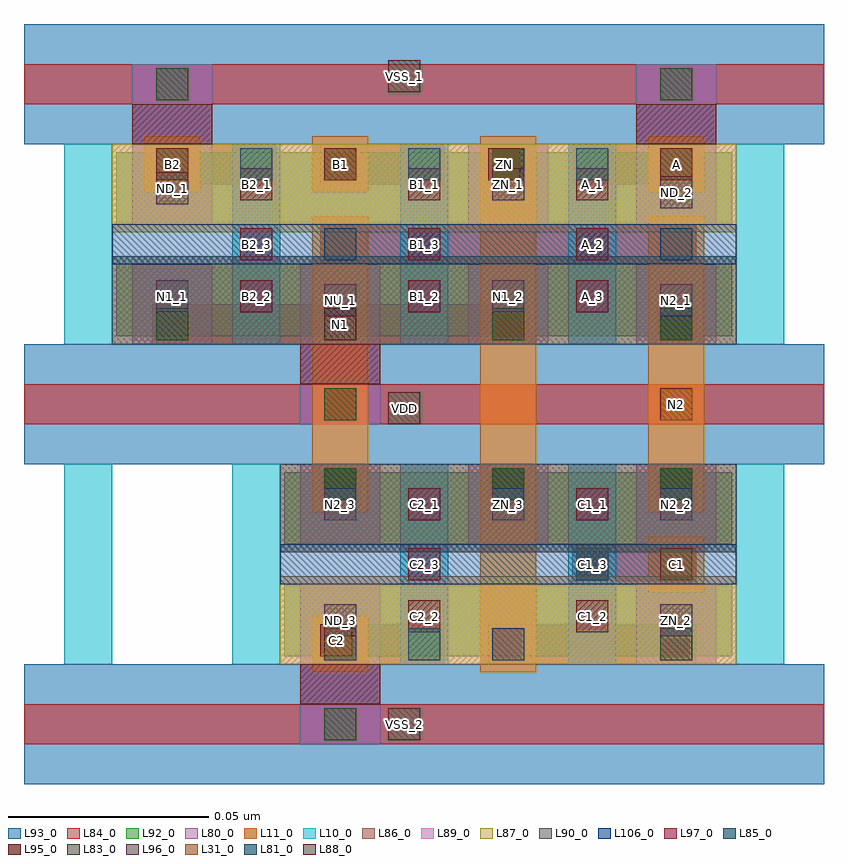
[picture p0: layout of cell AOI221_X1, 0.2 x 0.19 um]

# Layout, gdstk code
import gdstk
lib = gdstk.Library(unit=1e-6, precision=1e-09)
def R(c, l, rs):  # rectangles x0, y0, x1, y1
    for r in rs: c.add(gdstk.rectangle(r[:2], r[2:], *l))
def A(c, l, x, y, w, h, nx, ny, dx, dy):  # array of equal rectangles
    R(c, l, [(x+i*dx, y+j*dy, x+i*dx+w, y+j*dy+h) for i in range(nx) for j in range(ny)])
L10_0 = (10, 0)
L11_0 = (11, 0)
L31_0 = (31, 0)
L80_0 = (80, 0)
L81_0 = (81, 0)
L83_0 = (83, 0)
L84_0 = (84, 0)
L85_0 = (85, 0)
L86_0 = (86, 0)
L87_0 = (87, 0)
L88_0 = (88, 0)
L89_0 = (89, 0)
L90_0 = (90, 0)
L92_0 = (92, 0)
L93_0 = (93, 0)
L95_0 = (95, 0)
L96_0 = (96, 0)
L97_0 = (97, 0)
L106_0 = (106, 0)

aoi221_x1 = lib.new_cell('AOI221_X1')
A(aoi221_x1, L10_0, -0.027, -0.065, 0.012, 0.05, 5, 2, 0.042, 0.08)
A(aoi221_x1, L11_0, 0.077, -0.067, 0.014, 0.034, 1, 6, 0, 0.02)
A(aoi221_x1, L11_0, 0.119, -0.027, 0.014, 0.034, 1, 3, 0, 0.02)
R(aoi221_x1, L11_0, [(0.035,-0.067,0.049,-0.053), (0.119,-0.047,0.133,-0.033), (0.035,-0.027,0.049,0.047), (-0.007,0.053,0.007,0.067), (0.035,0.053,0.049,0.067), (0.119,0.053,0.133,0.067)])
R(aoi221_x1, L31_0, [(0.037,-0.063,0.045,-0.055), (0.122,-0.044,0.13,-0.036), (0.122,-0.004,0.13,0.004), (-0.004,0.056,0.004,0.064), (0.038,0.056,0.046,0.064), (0.079,0.056,0.087,0.064), (0.122,0.056,0.13,0.064)])
A(aoi221_x1, L80_0, -0.01, 0.015, 0.02, 0.02, 4, 1, 0.042, 0)
R(aoi221_x1, L80_0, [(0.032,-0.085,0.052,-0.064), (0.032,-0.065,0.052,-0.045), (0.116,-0.065,0.136,-0.045), (0.032,-0.035,0.052,-0.015), (0.032,-0.035,0.052,-0.015), (0.074,-0.035,0.094,-0.015), (0.074,-0.035,0.094,-0.015), (0.116,-0.035,0.136,-0.015), (0.116,-0.035,0.136,-0.015), (0.032,-0.005,0.052,0.016), (-0.01,0.045,0.01,0.065), (-0.01,0.045,0.01,0.065), (0.074,0.045,0.094,0.065), (0.074,0.045,0.094,0.065), (0.116,0.045,0.136,0.065), (0.116,0.045,0.136,0.065), (-0.01,0.056,0.01,0.085), (0.116,0.056,0.136,0.085)])
A(aoi221_x1, L81_0, 0.017, 0.056, 0.008, 0.008, 3, 1, 0.042, 0)
R(aoi221_x1, L81_0, [(0.059,-0.064,0.067,-0.056), (0.101,-0.044,0.109,-0.036)])
A(aoi221_x1, L83_0, 0.038, -0.024, 0.008, 0.008, 3, 1, 0.042, 0)
R(aoi221_x1, L83_0, [(0.038,-0.084,0.046,-0.076), (0.122,-0.064,0.13,-0.056), (0.038,-0.004,0.046,0.004), (-0.004,0.016,0.004,0.024), (0.08,0.016,0.088,0.024), (0.122,0.016,0.13,0.024), (0.08,0.056,0.088,0.064), (-0.004,0.076,0.004,0.084), (0.122,0.076,0.13,0.084)])
A(aoi221_x1, L84_0, -0.037, -0.085, 0.2, 0.01, 1, 3, 0, 0.08)
A(aoi221_x1, L84_0, 0.037, -0.025, 0.01, 0.01, 3, 1, 0.042, 0)
A(aoi221_x1, L84_0, -0.005, 0.015, 0.031, 0.01, 4, 1, 0.021, 0)
A(aoi221_x1, L84_0, 0.037, 0.035, 0.031, 0.01, 4, 1, 0.021, 0)
R(aoi221_x1, L84_0, [(0.037,-0.065,0.068,-0.055), (0.079,-0.065,0.11,-0.055), (0.1,-0.065,0.131,-0.055), (0.1,-0.045,0.131,-0.035), (0.121,0.015,0.131,0.025), (-0.005,0.055,0.026,0.065), (0.037,0.055,0.068,0.065), (0.079,0.055,0.089,0.065), (0.1,0.055,0.131,0.065)])
A(aoi221_x1, L85_0, 0.038, -0.024, 0.008, 0.008, 3, 1, 0.042, 0)
A(aoi221_x1, L85_0, -0.004, 0.056, 0.008, 0.008, 4, 1, 0.042, 0)
R(aoi221_x1, L85_0, [(0.038,-0.064,0.046,-0.056), (0.08,-0.064,0.088,-0.056), (0.122,-0.044,0.13,-0.036), (0.122,0.016,0.13,0.024), (0.038,0.036,0.046,0.044), (0.122,0.036,0.13,0.044)])
R(aoi221_x1, L86_0, [(0.027,-0.037,0.141,-0.015), (-0.015,0.015,0.141,0.037)])
R(aoi221_x1, L87_0, [(0.027,-0.065,0.141,-0.043), (-0.015,0.043,0.141,0.065)])
R(aoi221_x1, L88_0, [(0.054,-0.084,0.062,-0.076), (0.054,-0.005,0.062,0.003), (0.038,0.016,0.046,0.024), (0.054,0.078,0.062,0.086)])
R(aoi221_x1, L89_0, [(0.027,-0.065,0.141,-0.043), (-0.015,0.043,0.141,0.065)])
R(aoi221_x1, L90_0, [(0.027,-0.037,0.141,-0.015), (-0.015,0.015,0.141,0.037)])
R(aoi221_x1, L92_0, [(0.028,-0.063,0.14,-0.045), (0.028,-0.035,0.14,-0.017), (-0.014,0.017,0.14,0.035), (-0.014,0.045,0.14,0.063)])
A(aoi221_x1, L93_0, -0.037, -0.095, 0.2, 0.03, 1, 3, 0, 0.08)
R(aoi221_x1, L95_0, [(0.032,-0.075,0.052,-0.065), (0.032,0.005,0.052,0.015), (-0.01,0.065,0.01,0.075), (0.116,0.065,0.136,0.075)])
A(aoi221_x1, L96_0, 0.038, -0.029, 0.008, 0.008, 3, 1, 0.042, 0)
R(aoi221_x1, L96_0, [(0.038,-0.058,0.046,-0.05), (0.122,-0.058,0.13,-0.05), (0.038,0.022,0.046,0.03), (0.122,0.022,0.13,0.03), (-0.004,0.023,0.004,0.031), (0.08,0.023,0.088,0.031), (0.122,0.049,0.13,0.057), (-0.004,0.05,0.004,0.058), (0.08,0.051,0.088,0.059)])
A(aoi221_x1, L97_0, 0.017, 0.023, 0.008, 0.008, 3, 2, 0.042, 0.013)
A(aoi221_x1, L97_0, 0.017, 0.051, 0.008, 0.008, 3, 1, 0.042, 0)
R(aoi221_x1, L97_0, [(0.059,-0.057,0.067,-0.049), (0.101,-0.057,0.109,-0.049), (0.059,-0.044,0.067,-0.036), (0.101,-0.044,0.109,-0.036), (0.059,-0.029,0.067,-0.021), (0.101,-0.029,0.109,-0.021)])
R(aoi221_x1, L106_0, [(0.027,-0.045,0.141,-0.035), (-0.015,0.035,0.141,0.045)])
aoi221_x1.add(gdstk.Label('N1', (0.042,0.02), layer=88, texttype=0))
aoi221_x1.add(gdstk.Label('VDD', (0.058,-0.001), layer=88, texttype=0))
aoi221_x1.add(gdstk.Label('VSS_2', (0.058,-0.08), layer=88, texttype=0))
aoi221_x1.add(gdstk.Label('VSS_1', (0.058,0.082), layer=88, texttype=0))
aoi221_x1.add(gdstk.Label('N2', (0.126,0), layer=31, texttype=0))
aoi221_x1.add(gdstk.Label('ZN', (0.083,0.06), layer=31, texttype=0))
aoi221_x1.add(gdstk.Label('C2', (0.041,-0.059), layer=31, texttype=0))
aoi221_x1.add(gdstk.Label('B2', (0,0.06), layer=31, texttype=0))
aoi221_x1.add(gdstk.Label('B1', (0.042,0.06), layer=31, texttype=0))
aoi221_x1.add(gdstk.Label('A', (0.126,0.06), layer=31, texttype=0))
aoi221_x1.add(gdstk.Label('C1', (0.126,-0.04), layer=31, texttype=0))
aoi221_x1.add(gdstk.Label('C1_2', (0.105,-0.053), layer=97, texttype=0))
aoi221_x1.add(gdstk.Label('C1_3', (0.105,-0.04), layer=97, texttype=0))
aoi221_x1.add(gdstk.Label('C1_1', (0.105,-0.025), layer=97, texttype=0))
aoi221_x1.add(gdstk.Label('C2_3', (0.063,-0.04), layer=97, texttype=0))
aoi221_x1.add(gdstk.Label('C2_1', (0.063,-0.025), layer=97, texttype=0))
aoi221_x1.add(gdstk.Label('C2_2', (0.063,-0.053), layer=97, texttype=0))
aoi221_x1.add(gdstk.Label('A_3', (0.105,0.027), layer=97, texttype=0))
aoi221_x1.add(gdstk.Label('A_2', (0.105,0.04), layer=97, texttype=0))
aoi221_x1.add(gdstk.Label('A_1', (0.105,0.055), layer=97, texttype=0))
aoi221_x1.add(gdstk.Label('B1_2', (0.063,0.027), layer=97, texttype=0))
aoi221_x1.add(gdstk.Label('B1_3', (0.063,0.04), layer=97, texttype=0))
aoi221_x1.add(gdstk.Label('B1_1', (0.063,0.055), layer=97, texttype=0))
aoi221_x1.add(gdstk.Label('B2_3', (0.021,0.04), layer=97, texttype=0))
aoi221_x1.add(gdstk.Label('B2_1', (0.021,0.055), layer=97, texttype=0))
aoi221_x1.add(gdstk.Label('B2_2', (0.021,0.027), layer=97, texttype=0))
aoi221_x1.add(gdstk.Label('N2_3', (0.042,-0.025), layer=96, texttype=0))
aoi221_x1.add(gdstk.Label('ZN_1', (0.084,0.055), layer=96, texttype=0))
aoi221_x1.add(gdstk.Label('ZN_2', (0.126,-0.054), layer=96, texttype=0))
aoi221_x1.add(gdstk.Label('ZN_3', (0.084,-0.025), layer=96, texttype=0))
aoi221_x1.add(gdstk.Label('N2_1', (0.126,0.026), layer=96, texttype=0))
aoi221_x1.add(gdstk.Label('N2_2', (0.126,-0.025), layer=96, texttype=0))
aoi221_x1.add(gdstk.Label('NU_1', (0.042,0.026), layer=96, texttype=0))
aoi221_x1.add(gdstk.Label('N1_1', (0,0.027), layer=96, texttype=0))
aoi221_x1.add(gdstk.Label('N1_2', (0.084,0.027), layer=96, texttype=0))
aoi221_x1.add(gdstk.Label('ND_3', (0.042,-0.054), layer=96, texttype=0))
aoi221_x1.add(gdstk.Label('ND_1', (0,0.054), layer=96, texttype=0))
aoi221_x1.add(gdstk.Label('ND_2', (0.126,0.053), layer=96, texttype=0))

lib.write_gds('AOI221_X1.gds')
